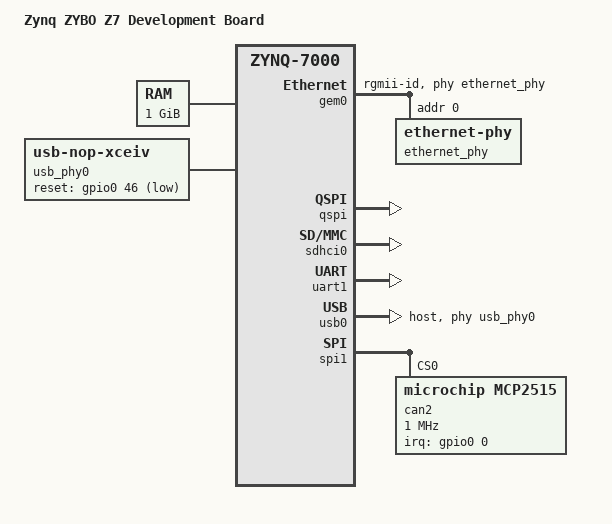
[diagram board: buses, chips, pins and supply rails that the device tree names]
// SPDX-License-Identifier: GPL-2.0+
/*
 *  Copyright (C) 2011 - 2015 Xilinx
 *  Copyright (C) 2012 National Instruments Corp.
 */
/dts-v1/;
#include "zynq-7000.dtsi"

/ {
	model = "Zynq ZYBO Z7 Development Board";
	compatible = "digilent,zynq-zybo", "xlnx,zynq-7000";

	aliases {
		ethernet0 = &gem0;
		serial0 = &uart1;
		spi0 = &qspi;
		mmc0 = &sdhci0;
	};

	memory@0 {
		device_type = "memory";
		reg = <0x0 0x40000000>;
	};

	chosen {
		bootargs = "";
		stdout-path = "serial0:115200n8";
	};

	usb_phy0: phy0 {
		#phy-cells = <0>;
		compatible = "usb-nop-xceiv";
		reset-gpios = <&gpio0 46 1>;
	};
};

&clkc {
	ps-clk-frequency = <33333333>;
};

&gem0 {
	status = "okay";
	phy-mode = "rgmii-id";
	phy-handle = <&ethernet_phy>;

	ethernet_phy: ethernet-phy@0 {
		reg = <0>;
		device_type = "ethernet-phy";
	};
};

&qspi {
	u-boot,dm-pre-reloc;
	status = "okay";
};

&sdhci0 {
	u-boot,dm-pre-reloc;
	status = "okay";
};

&uart1 {
	u-boot,dm-pre-reloc;
	status = "okay";
};

&usb0 {
	status = "okay";
	dr_mode = "host";
	usb-phy = <&usb_phy0>;
};

&spi1 {
	compatible = "xlnx,zynq-spi-r1p6";
	status = "okay";
	oscillator_frequency = <20000000>;
	
	can2:can@0{
		compatible = "microchip,mcp2515";
		reg = <0>;
		oscillator_frequency = <20000000>;
		spi-max-frequency = <1000000>;
		interrupt-parent = <&gpio0>;
		interrupts = <0 0x2>;	//GPIO0 Pin0 FallingEdge

		//IRQ_TYPE_NONE           = 0x00000000,
		//IRQ_TYPE_EDGE_RISING    = 0x00000001,
		//IRQ_TYPE_EDGE_FALLING   = 0x00000002,
		//IRQ_TYPE_EDGE_BOTH      = (IRQ_TYPE_EDGE_FALLING | IRQ_TYPE_EDGE_RISING),
		//IRQ_TYPE_LEVEL_HIGH     = 0x00000004,
		//IRQ_TYPE_LEVEL_LOW      = 0x00000008,
	};
};
